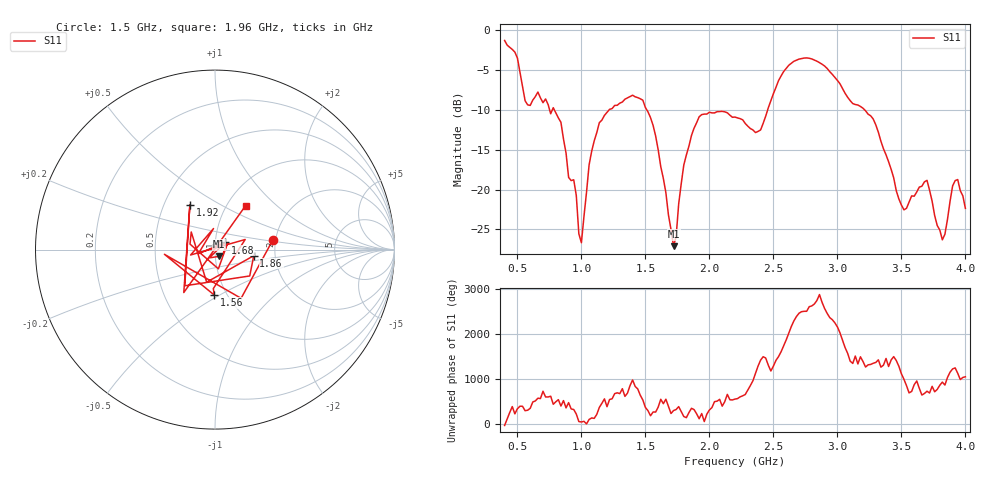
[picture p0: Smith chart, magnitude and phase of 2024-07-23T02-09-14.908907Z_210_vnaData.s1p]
!Created with skrf (http://scikit-rf.org).
# Hz S RI R 50.0
!freq ReS11 ImS11
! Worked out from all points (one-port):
!   181 points, 400 MHz to 4 GHz, reference 50 ohm
!   lowest |S11| = -27.1 dB at 1.72 GHz (marker M1), VSWR 1.09, Z = 52.2 - j3.94 ohm
!   |S11| at or under -10 dB: 788.8 MHz to 1.216 GHz (427.1 MHz wide, 42.6 % of centre); 1.511 GHz to 2.455 GHz (943.5 MHz wide, 47.6 % of centre); 3.214 GHz to end of sweep (the widest 3 of 4)
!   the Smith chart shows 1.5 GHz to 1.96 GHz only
!   S11 on the Smith chart (normalised r, x): 1.5 GHz: 1.93, +0.24; 1.56 GHz: 0.87, -0.47; 1.68 GHz: 1.12, +0.09; 1.86 GHz: 1.55, -0.11; 1.92 GHz: 0.67, +0.37; 1.96 GHz: 1.22, +0.65
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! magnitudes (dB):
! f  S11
! 400 MHz  -1.3
! 500 MHz  -3.5
! 560 MHz  -8.8
! 720 MHz  -8.6
! 860 MHz  -13.7
! 940 MHz  -18.8
! 1 GHz  -26.7
! 1.1 GHz  -13.9
! 1.3 GHz  -9.1
! 1.5 GHz  -9.7
! 1.56 GHz  -11.9
! 1.68 GHz  -23.2
! 1.72 GHz  -27.1
! 1.76 GHz  -21.8
! 1.86 GHz  -13.2
! 1.92 GHz  -10.9
! 1.96 GHz  -10.5
! 2.2 GHz  -10.9
! 2.4 GHz  -12.5
! 2.66 GHz  -3.9
! 3.1 GHz  -8.8
! 3.28 GHz  -11.1
! 3.5 GHz  -21.9
! 3.56 GHz  -21.6
! 3.7 GHz  -18.8
! 3.82 GHz  -26.3
! 3.92 GHz  -18.9
! 4 GHz  -22.4
